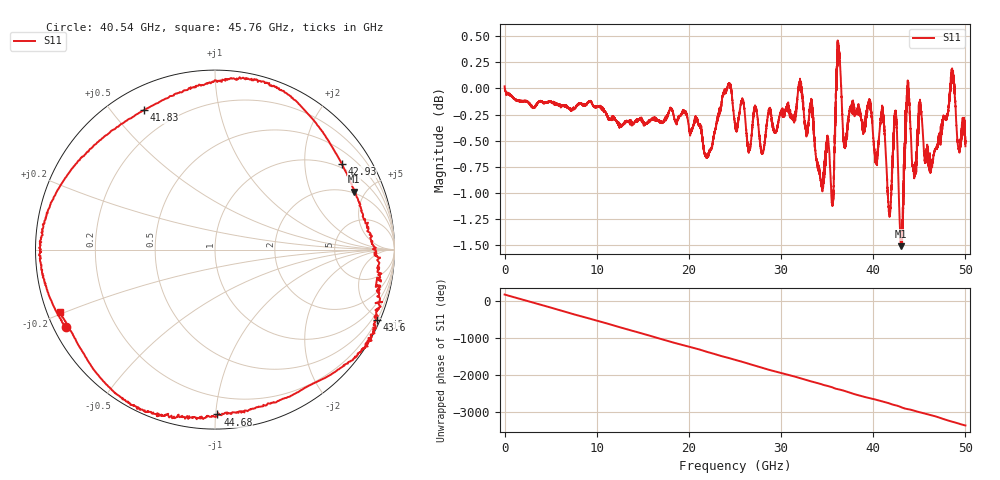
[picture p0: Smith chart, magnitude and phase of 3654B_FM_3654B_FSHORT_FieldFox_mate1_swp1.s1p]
!Created with skrf (http://scikit-rf.org).
# Hz S RI R 50.0
!freq ReS11 ImS11
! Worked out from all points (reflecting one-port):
!   10000 points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, 5.3 MHz to 50 GHz, reference 50 ohm
!   lowest |S11| = -1.5 dB at 43.04 GHz (marker M1), VSWR 11.55, Z = 95.2 + j209 ohm
!   phase of S11 starts at 180 deg and turns -3529 deg over the sweep
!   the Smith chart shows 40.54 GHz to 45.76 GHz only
!   S11 on the Smith chart (normalised r, x): 40.54 GHz: 0.03, -0.24; 41.83 GHz: 0.09, +0.61; 42.93 GHz: 0.87, +3.04; 43.6 GHz: 0.19, -4.80; 44.68 GHz: 0.09, -1.01; 45.76 GHz: 0.04, -0.19
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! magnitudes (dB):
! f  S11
! 5.3 MHz  0.0
! 6.255 GHz  -0.2
! 12.51 GHz  -0.4
! 18.76 GHz  -0.3
! 21.99 GHz  -0.7
! 24.33 GHz  0.0
! 25.01 GHz  -0.3
! 27.97 GHz  -0.6
! 31.26 GHz  -0.3
! 32.09 GHz  0.0
! 35.53 GHz  -1.1
! 36.21 GHz  0.4
! 36.9 GHz  -0.6
! 37.51 GHz  -0.2
! 40.54 GHz  -0.5
! 41.05 GHz  -0.2
! 41.83 GHz  -1.2
! 42.41 GHz  -0.2
! 42.93 GHz  -1.4
! 43.04 GHz  -1.5
! 43.6 GHz  -0.1
! 43.76 GHz  -0.1
! 44.68 GHz  -0.7
! 45.12 GHz  -0.1
! 45.76 GHz  -0.6
! 48.57 GHz  0.1
! 49.26 GHz  -0.6
! 50 GHz  -0.6
